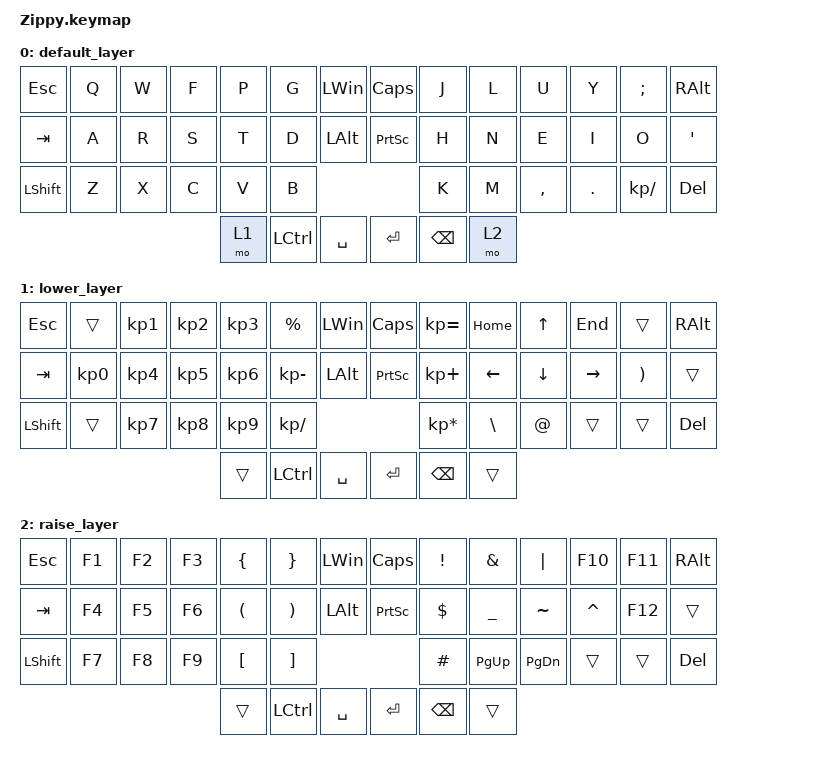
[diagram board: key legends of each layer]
/*
 * Copyright (c) 2020 The ZMK Contributors
 *
 * SPDX-License-Identifier: MIT
 */

#include <behaviors.dtsi>
#include <dt-bindings/zmk/keys.h>

#define DEFAULT 0
#define LOWER  1
#define RAISE  2

/* NOTE: At the time of the creation of this keymap, there are no specified codes for 'eisuu' and 'kana' input in ZMK.
However, 'LANG1' and 'LANG2' are fully-functioning candidates for 'kana' and 'eisuu' input respectively.
As such, those are in use within the default layer at this time.*/

/ {
    keymap {
        compatible = "zmk,keymap";

        default_layer {
            // ---------------------------------------------------------------------------------------------------------------------------------
            // | GRAVE  |   1    |   2    |   3    |   4    |   5    |  LBKT  |                    |  RBKT  |   6    |   7    |   8    |   9    |   0    |  DEL   |
            // |  TAB   |   Q    |   W    |   E    |   R    |   T    |  LBKT  |                    |  RBKT  |   Y    |   U    |   I    |   O    |   P    |  BSPC  |
            // |  CTRL  |   A    |   S    |   D    |   F    |   G    |                                      |   H    |   J    |   K    |   L    |   ;    |   '    |
            // |  SHIFT |   Z    |   X    |   C    |   V    |   B    |  LBKT  |                    |  RBKT  |   N    |   M    |   ,    |   .    |   /    |  RET   |

            bindings = <
&kp ESC     &kp Q  &kp W  &kp F  &kp P  &kp G      &kp LEFT_WIN  &kp CAPS   &kp J     &kp L  &kp U      &kp Y    &kp SEMI      &kp RALT
&kp TAB     &kp A  &kp R  &kp S  &kp T  &kp D      &kp LALT      &kp PSCRN  &kp H     &kp N  &kp E      &kp I    &kp O         &kp SQT
&kp LSHIFT  &kp Z  &kp X  &kp C  &kp V  &kp B                               &kp K     &kp M  &kp COMMA  &kp DOT  &kp KP_SLASH  &kp DEL
                                 &mo 1  &kp LCTRL  &kp SPACE     &kp ENTER  &kp BSPC  &mo 2
            >;
        };

        lower_layer {
            // ---------------------------------------------------------------------------------------------------------------------------------
            // |      |      |      |      |      |      |                                  |      |      |      |      |      |      |
            // |  ~   |  !   |  @   |  #   |  $   |  %   |                                  |  ^   |  &   |  *   |  (   |  )   |      |
            // |      |      |      |      |      |      |                                  |      |  _   |  +   |  {   |  }   | PIPE |
            // |      |      |      |      |      |      |  (   |                    |  )   |      |      |      | HOME | END  |      |
            // |      |      |      |      |      |      |      |                    |      |      |      |      |      |      |      |

            bindings = <
&kp ESC         &trans     &kp KP_N1        &kp KP_NUMBER_2  &kp KP_N3  &kp PERCENT       &kp LWIN   &kp CAPS   &kp KP_EQUAL     &kp HOME       &kp UP    &kp END    &trans    &kp RIGHT_ALT
&kp TAB         &kp KP_N0  &kp KP_NUMBER_4  &kp KP_NUMBER_5  &kp KP_N6  &kp KP_SUBTRACT   &kp LALT   &kp PSCRN  &kp KP_PLUS      &kp LEFT       &kp DOWN  &kp RIGHT  &kp RPAR  &trans
&kp LEFT_SHIFT  &trans     &kp KP_N7        &kp KP_NUMBER_8  &kp KP_N9  &kp KP_DIVIDE                           &kp KP_ASTERISK  &kp BACKSLASH  &kp AT    &trans     &trans    &kp DELETE
                                                             &trans     &kp LEFT_CONTROL  &kp SPACE  &kp ENTER  &kp BACKSPACE    &trans
            >;
        };

        raise_layer {
            bindings = <
&kp ESC         &kp F1  &kp F2  &kp F3  &kp LEFT_BRACE        &kp RIGHT_BRACE        &kp LWIN   &kp CAPS   &kp EXCL       &kp AMPS   &kp PIPE       &kp F10    &kp F11  &kp RIGHT_ALT
&kp TAB         &kp F4  &kp F5  &kp F6  &kp LEFT_PARENTHESIS  &kp RIGHT_PARENTHESIS  &kp LALT   &kp PSCRN  &kp DOLLAR     &kp UNDER  &kp TILDE      &kp CARET  &kp F12  &trans
&kp LEFT_SHIFT  &kp F7  &kp F8  &kp F9  &kp LEFT_BRACKET      &kp RIGHT_BRACKET                            &kp HASH       &kp PG_UP  &kp PAGE_DOWN  &trans     &trans   &kp DELETE
                                        &trans                &kp LEFT_CONTROL       &kp SPACE  &kp ENTER  &kp BACKSPACE  &trans
            >;
        };
    };
};
